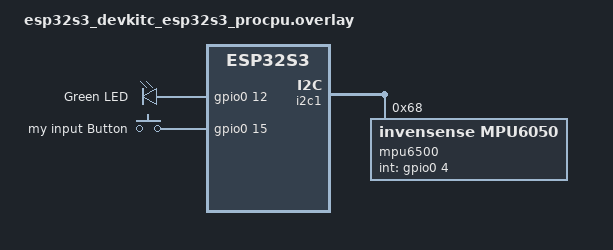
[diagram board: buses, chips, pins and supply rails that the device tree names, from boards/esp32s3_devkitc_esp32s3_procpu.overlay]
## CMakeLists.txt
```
cmake_minimum_required(VERSION 3.10.0)

find_package(Zephyr REQUIRED HINTS $ENV{ZEPHYR_BASE})
project(hello_world)
FILE(GLOB app_sources src/*.c)

target_sources(app PRIVATE ${app_sources})

set(gen_dir ${ZEPHYR_BINARY_DIR}/include/generated/)
set(source_file_index src/index.html)
generate_inc_file_for_target(app ${source_file_index} ${gen_dir}/index.html.gz.inc --gzip)

zephyr_linker_sources(SECTIONS sections-rom.ld)
zephyr_iterable_section(NAME http_resource_desc_my_service KVMA RAM_REGION GROUP RODATA_REGION)
```

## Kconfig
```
#SPDX - License - Identifier : Apache - 2.0

mainmenu "My MQTT App"

config NET_SAMPLE_MQTT_BROKER_HOSTNAME
    string "MQTT Broker hostname"
    default "test.mosquitto.org"

config NET_SAMPLE_MQTT_BROKER_PORT
    string "MQTT Broker port"
    default "1883"

config NET_SAMPLE_MQTT_PUBLISH_INTERVAL
    int "MQTT publish interval in seconds"
    default 10

config NET_SAMPLE_MQTT_PAYLOAD_SIZE
    int "MQTT payload buffer size"
    default 256

config WIFI_SAMPLE_SSID 
    string "WIFI SSID"
    default "" 

config WIFI_SAMPLE_PSK 
    string "WIFI PASSWORD"
    default ""

config WIFI_SAMPLE_AP_SSID
	string "SSID of soft AP"
	help
	  SSID of the soft AP created by the sample.
	  Fox example: "SOFT-AP"

config WIFI_SAMPLE_AP_PSK
	string "Pre-shared key for soft AP"
	help
	  WPA2 password used by the soft AP for client authentication.
	  For example: "PSK"


config READ_TOPIC
    string "MQTT TOPIC TO LISTIN TO"
    default ""

config WRITE_TOPIC
    string "MQTT TOPIC TO PUBLISH TO"
    default ""
source "Kconfig.zephyr"




config WIFI_SAMPLE_AP_IP_ADDRESS
	string "IP address of soft AP"
	help
	  IP address assigned to the soft AP interface.
	  For example: "192.168.4.1"

config WIFI_SAMPLE_AP_NETMASK
	string "Netmask of soft AP"
	help
	  Subnet mask for the soft AP interface.
	  For example: "255.255.255.0"
    default "255.255.255.0"
```

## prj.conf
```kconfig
CONFIG_GPIO=y
CONFIG_I2C=y
CONFIG_INPUT=y
CONFIG_LED=y
CONFIG_SENSOR=y
CONFIG_MPU6050=y


CONFIG_WIFI=y
CONFIG_WIFI_NM=y
CONFIG_WIFI_USAGE_MODE_STA_AP=y


CONFIG_NET_CONFIG_AUTO_INIT=n
CONFIG_NET_CONNECTION_MANAGER=y
CONFIG_NET_DHCPV4=y
CONFIG_NET_DHCPV4_SERVER=y
CONFIG_NET_IF_MAX_IPV4_COUNT=2
CONFIG_NET_IF_MAX_IPV6_COUNT=2
CONFIG_NET_IPV4=y
CONFIG_NET_L2_ETHERNET=y
CONFIG_NET_L2_WIFI_MGMT=y
CONFIG_NET_MGMT=y
CONFIG_NET_MGMT_EVENT=y
CONFIG_NET_MGMT_EVENT_INFO=y
CONFIG_NET_MGMT_EVENT_QUEUE_SIZE=10
CONFIG_NET_MGMT_EVENT_STACK_SIZE=4096
CONFIG_NET_PKT_RX_COUNT=16
CONFIG_NET_PKT_TX_COUNT=16
CONFIG_NET_SOCKETS_SERVICE_STACK_SIZE=4096
CONFIG_NET_TCP=y
CONFIG_NET_UDP=y
CONFIG_NETWORKING=y


# Enable Sockets (used by MQTT lib)
CONFIG_NET_SOCKETS=y
CONFIG_NET_SOCKETS_SOCKOPT_TLS=y


# Enable Mbed TLS
CONFIG_MBEDTLS=y
CONFIG_MBEDTLS_ENABLE_HEAP=y
CONFIG_MBEDTLS_HEAP_SIZE=65536
CONFIG_MBEDTLS_SSL_MAX_CONTENT_LEN=16384
CONFIG_MBEDTLS_PEM_PARSE_C=y
CONFIG_MBEDTLS_PEM_WRITE_C=y
CONFIG_MBEDTLS_SSL_SERVER_NAME_INDICATION=y
CONFIG_MBEDTLS_CIPHERSUITE_TLS_ECDHE_RSA_WITH_AES_128_GCM_SHA256=y

# Enable MQTT
CONFIG_MQTT_LIB=y
CONFIG_MQTT_LIB_TLS=y


# DNS for broker hostname resolution
CONFIG_DNS_RESOLVER=y
CONFIG_NET_HOSTNAME_ENABLE=y

# Enable Posix API functionality
CONFIG_POSIX_API=y


# Main stack size
CONFIG_MAIN_STACK_SIZE=4096
CONFIG_THREAD_NAME=y

# System work queue stack size
CONFIG_SYSTEM_WORKQUEUE_STACK_SIZE=2048

# Increase Rx net buffers
CONFIG_NET_BUF_RX_COUNT=100

CONFIG_LOG=y
CONFIG_NET_LOG=y
CONFIG_NET_DHCPV4_SERVER_LOG_LEVEL_DBG=y


CONFIG_NET_SAMPLE_MQTT_BROKER_HOSTNAME="broker.hivemq.com"
CONFIG_NET_SAMPLE_MQTT_BROKER_PORT="8883"
CONFIG_NET_SAMPLE_MQTT_PUBLISH_INTERVAL=10


#json
CONFIG_JSON_LIBRARY=y

CONFIG_MBEDTLS_DEBUG=y


CONFIG_HTTP_SERVER=y
CONFIG_WIFI_SAMPLE_AP_IP_ADDRESS="192.168.4.1"


CONFIG_ZVFS_EVENTFD_MAX=4



# CONFIG_SHELL=y
# CONFIG_NET_SHELL=y

CONFIG_LOG_DEFAULT_LEVEL=1


CONFIG_NET_MAX_CONTEXTS=16
CONFIG_NET_MAX_CONN=20
```

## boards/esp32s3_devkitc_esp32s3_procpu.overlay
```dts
// input system dont require alias it will hande it


/{
	aliases {
		led0 = &led0;
	};
	leds {
		compatible = "gpio-leds";

		led0: led_0 {
			gpios = <&gpio0 12 GPIO_ACTIVE_HIGH>;
			label = "Green LED";
		};
	};
	buttons {
		compatible = "gpio-keys";

		my_button: my_button {
			gpios = <&gpio0 15 (GPIO_PULL_DOWN | GPIO_ACTIVE_HIGH)>;
			label = "my input Button";
			zephyr,code = <INPUT_KEY_1>;
		};
	};
	wifi_ap: wifi_ap {
		compatible = "espressif,esp32-wifi";
		status = "okay";
	};
};

&i2c1 {
	status = "okay";
    	mpu6500: mpu6500@68 {
        compatible = "invensense,mpu6050";
        reg = <0x68>;
        status = "okay";
        int-gpios = <&gpio0 4 GPIO_ACTIVE_HIGH>;  /* optional interrupt pin */
        accel-fs = <2>;    /* +/- 2g, legal: 2, 4, 8, 16 */
        gyro-fs = <250>;   /* +/- 250 deg/s, legal: 250, 500, 1000, 2000 */
    };
};
```

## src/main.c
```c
/*
 * SPDX-FileCopyrightText: Copyright The Zephyr Project Contributors
 * SPDX-License-Identifier: Apache-2.0
 */

#include "mqtt_client.h"
#include <ctype.h>
#include <inttypes.h>
#include <stdbool.h>
#include <string.h>
#include <sys/_intsup.h>
#include <zephyr/device.h>
#include <zephyr/devicetree.h>
#include <zephyr/drivers/led.h>
#include <zephyr/drivers/sensor.h>
#include <zephyr/input/input.h>
#include <zephyr/kernel.h>
#include <zephyr/logging/log.h>
#include <zephyr/net/dhcpv4_server.h>
#include <zephyr/net/http/server.h>
#include <zephyr/net/http/service.h>
#include <zephyr/net/mqtt.h>
#include <zephyr/net/wifi_mgmt.h>
#include <zephyr/sys/printk.h>
#include "wifi.h"
LOG_MODULE_REGISTER(MAIN);

bool button_state = false;
bool led_state = false;

static void format_sensor_value(char *buf, size_t buf_len,
                                struct sensor_value *v)
{
  int32_t frac = v->val2 < 0 ? -v->val2 : v->val2;

  snprintf(buf, buf_len, "%d.%06d", v->val1, frac);
}

#define LED0_NODE DT_ALIAS(led0)
static const struct led_dt_spec led0 = LED_DT_SPEC_GET(LED0_NODE);
const struct device *mpu = DEVICE_DT_GET(DT_NODELABEL(mpu6500));

static void button_input_cb(struct input_event *evt, void *user_data)
{
  if (evt->sync == 0)
  {
    return;
  }

  printk("Button %d %s at %" PRIu32 "\n", evt->code,
         evt->value ? "pressed" : "released", k_cycle_get_32());
  if (evt->code == 2 && evt->value)
    button_state = true;
  else
  {
    button_state = false;
  }
}

INPUT_CALLBACK_DEFINE(NULL, button_input_cb, NULL);
const char axes[] = {'x', 'y', 'z'};
struct sensor_value accel[3];
struct sensor_value gyro[3];
struct sensor_value temp;

int main(void)
{
  wifi_init();

  // MQTT
  struct mqtt_client client_ctx;
  while (app_mqtt_init(&client_ctx) != 0)
  {
    k_sleep(K_SECONDS(2));
  }
  app_mqtt_connect(&client_ctx);
  app_mqtt_subscribe(&client_ctx, CONFIG_READ_TOPIC);

  if (!led_is_ready_dt(&led0))
  {
    LOG_ERR("led not ready\n");
    return -ENODEV;
  }
  if (!device_is_ready(mpu))
  {
    LOG_ERR("MPU6500 not ready\n");
    return -ENODEV;
  }
  printk("Press the button\n");
  char msg[256]; // json publish data buffer
  while (true)
  {
    if (led_state)
    {
      led_on_dt(&led0);
    }
    else
    {
      led_off_dt(&led0);
    }

    if (mqtt_connected)
    {
      app_mqtt_process(&client_ctx);
    }
    else
    {
      /* Reconnect if dropped */
      app_mqtt_connect(&client_ctx);
      app_mqtt_subscribe(&client_ctx, CONFIG_READ_TOPIC);
    }

    // Step 1 — fetch all raw data from sensor over I2C
    int rc = sensor_sample_fetch(mpu);

    if (rc == 0)
    {
      rc = sensor_channel_get(mpu, SENSOR_CHAN_ACCEL_XYZ, accel);
    }
    char xs[16], ys[16], zs[16];

    format_sensor_value(xs, sizeof(xs), &accel[0]);
    format_sensor_value(ys, sizeof(ys), &accel[1]);
    format_sensor_value(zs, sizeof(zs), &accel[2]);

    snprintf(msg, 256,
             "{\"button\":\"%s\",\"mpu_accel\":{\"x\":%s,\"y\":%s,\"z\":%s}}",
             button_state ? "on" : "off", xs, ys, zs);

    app_mqtt_publish(&client_ctx, CONFIG_WRITE_TOPIC, msg);

    k_sleep(K_MSEC(100));
  }

  k_sleep(K_FOREVER);

  return 0;
}
```

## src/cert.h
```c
#ifndef CA_CERTIFICATE_H
#define CA_CERTIFICATE_H

static const unsigned char ca_certificate[] =
    "-----BEGIN CERTIFICATE-----\n"
    "MIIEkjCCA3qgAwIBAgITBn+USionzfP6wq4rAfkI7rnExjANBgkqhkiG9w0BAQsF\n"
    "ADCBmDELMAkGA1UEBhMCVVMxEDAOBgNVBAgTB0FyaXpvbmExEzARBgNVBAcTClNj\n"
    "b3R0c2RhbGUxJTAjBgNVBAoTHFN0YXJmaWVsZCBUZWNobm9sb2dpZXMsIEluYy4x\n"
    "OzA5BgNVBAMTMlN0YXJmaWVsZCBTZXJ2aWNlcyBSb290IENlcnRpZmljYXRlIEF1\n"
    "dGhvcml0eSAtIEcyMB4XDTE1MDUyNTEyMDAwMFoXDTM3MTIzMTAxMDAwMFowOTEL\n"
    "MAkGA1UEBhMCVVMxDzANBgNVBAoTBkFtYXpvbjEZMBcGA1UEAxMQQW1hem9uIFJv\n"
    "b3QgQ0EgMTCCASIwDQYJKoZIhvcNAQEBBQADggEPADCCAQoCggEBALJ4gHHKeNXj\n"
    "ca9HgFB0fW7Y14h29Jlo91ghYPl0hAEvrAIthtOgQ3pOsqTQNroBvo3bSMgHFzZM\n"
    "9O6II8c+6zf1tRn4SWiw3te5djgdYZ6k/oI2peVKVuRF4fn9tBb6dNqcmzU5L/qw\n"
    "IFAGbHrQgLKm+a/sRxmPUDgH3KKHOVj4utWp+UhnMJbulHheb4mjUcAwhmahRWa6\n"
    "VOujw5H5SNz/0egwLX0tdHA114gk957EWW67c4cX8jJGKLhD+rcdqsq08p8kDi1L\n"
    "93FcXmn/6pUCyziKrlA4b9v7LWIbxcceVOF34GfID5yHI9Y/QCB/IIDEgEw+OyQm\n"
    "jgSubJrIqg0CAwEAAaOCATEwggEtMA8GA1UdEwEB/wQFMAMBAf8wDgYDVR0PAQH/\n"
    "BAQDAgGGMB0GA1UdDgQWBBSEGMyFNOy8DJSULghZnMeyEE4KCDAfBgNVHSMEGDAW\n"
    "gBScXwDfqgHXMCs4iKK4bUqc8hGRgzB4BggrBgEFBQcBAQRsMGowLgYIKwYBBQUH\n"
    "MAGGImh0dHA6Ly9vY3NwLnJvb3RnMi5hbWF6b250cnVzdC5jb20wOAYIKwYBBQUH\n"
    "MAKGLGh0dHA6Ly9jcnQucm9vdGcyLmFtYXpvbnRydXN0LmNvbS9yb290ZzIuY2Vy\n"
    "MD0GA1UdHwQ2MDQwMqAwoC6GLGh0dHA6Ly9jcmwucm9vdGcyLmFtYXpvbnRydXN0\n"
    "LmNvbS9yb290ZzIuY3JsMBEGA1UdIAQKMAgwBgYEVR0gADANBgkqhkiG9w0BAQsF\n"
    "AAOCAQEAYjdCXLwQtT6LLOkMm2xF4gcAevnFWAu5CIw+7bMlPLVvUOTNNWqnkzSW\n"
    "MiGpSESrnO09tKpzbeR/FoCJbM8oAxiDR3mjEH4wW6w7sGDgd9QIpuEdfF7Au/ma\n"
    "eyKdpwAJfqxGF4PcnCZXmTA5YpaP7dreqsXMGz7KQ2hsVxa81Q4gLv7/wmpdLqBK\n"
    "bRRYh5TmOTFffHPLkIhqhBGWJ6bt2YFGpn6jcgAKUj6DiAdjd4lpFw85hdKrCEVN\n"
    "0FE6/V1dN2RMfjCyVSRCnTawXZwXgWHxyvkQAiSr6w10kY17RSlQOYiypok1JR4U\n"
    "akcjMS9cmvqtmg5iUaQqqcT5NJ0hGA==\n"
    "-----END CERTIFICATE-----\n";

#endif /* CA_CERTIFICATE_H */
```

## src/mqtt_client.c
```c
#include <stdbool.h>
#include <string.h>
#include <zephyr/logging/log.h>
LOG_MODULE_REGISTER(app_mqtt, LOG_LEVEL_DBG);

#include "mqtt_client.h"
#include <zephyr/data/json.h>
#include <zephyr/kernel.h>
#include <zephyr/net/mqtt.h>
#include <zephyr/net/tls_credentials.h>
#include <zephyr/posix/arpa/inet.h>
#include <zephyr/posix/netdb.h>
#include <zephyr/posix/poll.h>
#include <zephyr/posix/sys/socket.h>
#include <zephyr/random/random.h>

extern bool led_state;

struct led_cmd
{
  const char *led;
};

static const struct json_obj_descr led_cmd_descr[] = {
    JSON_OBJ_DESCR_PRIM(struct led_cmd, led, JSON_TOK_STRING),
};

/* Buffers for MQTT client */
static uint8_t rx_buffer[256];
static uint8_t tx_buffer[256];

// /* MQTT payload buffer */
// static uint8_t payload_buf[256];

/* MQTT broker details */
static struct sockaddr_storage broker;

/* Socket descriptor */
static struct pollfd fds[1];
static int nfds;

/* MQTT connectivity status flag */
bool mqtt_connected;

#if defined(CONFIG_MQTT_LIB_TLS)
#include "cert.h"

#define TLS_SNI_HOSTNAME CONFIG_NET_SAMPLE_MQTT_BROKER_HOSTNAME
#define APP_CA_CERT_TAG 1

static const sec_tag_t m_sec_tags[] = {
    APP_CA_CERT_TAG,
};

static int tls_init(void)
{
  int rc;

  rc = tls_credential_add(APP_CA_CERT_TAG, TLS_CREDENTIAL_CA_CERTIFICATE,
                          ca_certificate, sizeof(ca_certificate));
  if (rc < 0)
  {
    LOG_ERR("Failed to register public certificate: %d", rc);
    return rc;
  }

  return rc;
}
#endif

// /* MQTT client ID buffer */
// static uint8_t client_id[50];

static void prepare_fds(struct mqtt_client *client)
{
  if (client->transport.type == MQTT_TRANSPORT_NON_SECURE)
  {
    fds[0].fd = client->transport.tcp.sock;
  }
#if defined(CONFIG_MQTT_LIB_TLS)
  else if (client->transport.type == MQTT_TRANSPORT_SECURE)
  {
    fds[0].fd = client->transport.tls.sock;
  }
#endif

  fds[0].events = POLLIN;
  nfds = 1;
}

static void clear_fds(void) { nfds = 0; }

static inline void on_mqtt_connect(void)
{
  mqtt_connected = true;
  LOG_INF("Connected to MQTT broker!");
  LOG_INF("Hostname: %s", CONFIG_NET_SAMPLE_MQTT_BROKER_HOSTNAME);
  LOG_INF("Port: %s", CONFIG_NET_SAMPLE_MQTT_BROKER_PORT);
}

static inline void on_mqtt_disconnect(void)
{
  mqtt_connected = false;
  clear_fds();
  LOG_INF("Disconnected from MQTT broker");
}

/** Called when an MQTT payload is received.
 *  Reads the payload and calls the commands
 *  handler if a payloads is received on the
 *  command topic
 */
static void on_mqtt_publish(struct mqtt_client *const client,
                            const struct mqtt_evt *evt)
{
  int rc;
  uint8_t payload[256];

  rc = mqtt_read_publish_payload(client, payload, sizeof(payload) - 1);
  if (rc < 0)
  {
    LOG_ERR("Failed to read received MQTT payload [%d]", rc);
    return;
  }
  /* Place null terminator at end of payload buffer */
  payload[rc] = '\0';

  LOG_INF("MQTT payload received!");
  LOG_INF("topic: '%s', payload: %s",
          evt->param.publish.message.topic.topic.utf8, payload);

  if (strcmp(evt->param.publish.message.topic.topic.utf8, CONFIG_READ_TOPIC) ==
      0)
  {
    struct led_cmd data;
    int ret;

    ret = json_obj_parse((char *)payload, 256, led_cmd_descr,
                         ARRAY_SIZE(led_cmd_descr), &data);
    if (ret < 0)
    {
      LOG_ERR("Invalid JSON payload received");
      return;
    }
    LOG_INF("payload is :\n%s", payload);

    if (data.led != NULL)
    {
      if (strcmp(data.led, "on") == 0)
      {
        led_state = true;
      }
      else if (strcmp(data.led, "off") == 0)
      {
        led_state = false;
      }
    }
  }
}

/** Handler for asynchronous MQTT events */
static void mqtt_event_handler(struct mqtt_client *const client,
                               const struct mqtt_evt *evt)
{
  switch (evt->type)
  {
  case MQTT_EVT_CONNACK:
    if (evt->result != 0)
    {
      LOG_ERR("MQTT Event Connect failed [%d]", evt->result);
      break;
    }
    on_mqtt_connect();
    break;

  case MQTT_EVT_DISCONNECT:
    on_mqtt_disconnect();
    break;

  case MQTT_EVT_PINGRESP:
    LOG_INF("PINGRESP packet");
    break;

  case MQTT_EVT_PUBACK:
    if (evt->result != 0)
    {
      LOG_ERR("MQTT PUBACK error [%d]", evt->result);
      break;
    }

    LOG_INF("PUBACK packet ID: %u", evt->param.puback.message_id);
    break;

  case MQTT_EVT_PUBREC:
    if (evt->result != 0)
    {
      LOG_ERR("MQTT PUBREC error [%d]", evt->result);
      break;
    }

    LOG_INF("PUBREC packet ID: %u", evt->param.pubrec.message_id);

    const struct mqtt_pubrel_param rel_param = {
        .message_id = evt->param.pubrec.message_id};

    mqtt_publish_qos2_release(client, &rel_param);
    break;

  case MQTT_EVT_PUBREL:
    if (evt->result != 0)
    {
      LOG_ERR("MQTT PUBREL error [%d]", evt->result);
      break;
    }

    LOG_INF("PUBREL packet ID: %u", evt->param.pubrel.message_id);

    const struct mqtt_pubcomp_param rec_param = {
        .message_id = evt->param.pubrel.message_id};

    mqtt_publish_qos2_complete(client, &rec_param);
    break;

  case MQTT_EVT_PUBCOMP:
    if (evt->result != 0)
    {
      LOG_ERR("MQTT PUBCOMP error %d", evt->result);
      break;
    }

    LOG_INF("PUBCOMP packet ID: %u", evt->param.pubcomp.message_id);
    break;

  case MQTT_EVT_SUBACK:
    if (evt->result == MQTT_SUBACK_FAILURE)
    {
      LOG_ERR("MQTT SUBACK error [%d]", evt->result);
      break;
    }

    LOG_INF("SUBACK packet ID: %d", evt->param.suback.message_id);
    break;

  case MQTT_EVT_PUBLISH:
    const struct mqtt_publish_param *p = &evt->param.publish;

    if (p->message.topic.qos == MQTT_QOS_1_AT_LEAST_ONCE)
    {
      const struct mqtt_puback_param ack_param = {.message_id = p->message_id};
      mqtt_publish_qos1_ack(client, &ack_param);
    }
    else if (p->message.topic.qos == MQTT_QOS_2_EXACTLY_ONCE)
    {
      const struct mqtt_pubrec_param rec_param = {.message_id = p->message_id};
      mqtt_publish_qos2_receive(client, &rec_param);
    }

    on_mqtt_publish(client, evt);

  default:
    break;
  }
}

/** Poll the MQTT socket for received data */
static int poll_mqtt_socket(struct mqtt_client *client, int timeout)
{
  int rc;

  prepare_fds(client);

  if (nfds <= 0)
  {
    return -EINVAL;
  }

  rc = poll(fds, nfds, timeout);
  if (rc < 0)
  {
    LOG_ERR("Socket poll error [%d]", rc);
  }

  return rc;
}

// /** Retrieves a sensor sample and encodes it in JSON format */
// static int get_mqtt_payload(struct mqtt_binstr *payload) {
//   int rc;
//   struct sensor_sample sample;

//   rc = device_read_sensor(&sample);
//   if (rc != 0) {
//     LOG_ERR("Failed to get sensor sample [%d]", rc);
//     return rc;
//   }

//   rc = json_obj_encode_buf(sensor_sample_descr,
//   ARRAY_SIZE(sensor_sample_descr),
//                            &sample, payload_buf, 256);
//   if (rc != 0) {
//     LOG_ERR("Failed to encode JSON object [%d]", rc);
//     return rc;
//   }

//   payload->data = payload_buf;
//   payload->len = strlen(payload->data);

//   return rc;
// }

int app_mqtt_publish(struct mqtt_client *client, const char *topic,
                     const char *data)
{
  int rc;
  struct mqtt_publish_param param;
  static uint16_t msg_id = 1;
  struct mqtt_topic mq_topic = {.topic = {.utf8 = topic, .size = strlen(topic)},
                                .qos = MQTT_QOS_1_AT_LEAST_ONCE};

  param.message.topic = mq_topic;
  param.message.payload.data = (uint8_t *)data;
  param.message.payload.len = strlen(data);
  param.message_id = msg_id++;
  param.dup_flag = 0;
  param.retain_flag = 0;

  rc = mqtt_publish(client, &param);
  if (rc != 0)
  {
    LOG_ERR("MQTT Publish failed [%d]", rc);
  }

  // LOG_INF("Published to topic '%s', QoS %d", param.message.topic.topic.utf8,
  //         param.message.topic.qos);

  return rc;
}

int app_mqtt_subscribe(struct mqtt_client *client, const char *topic)
{
  int rc;
  struct mqtt_topic sub_topics[] = {
      {.topic = {.utf8 = topic, .size = strlen(topic)},
       .qos = MQTT_QOS_1_AT_LEAST_ONCE}};
  const struct mqtt_subscription_list sub_list = {.list = sub_topics,
                                                  .list_count =
                                                      ARRAY_SIZE(sub_topics),
                                                  .message_id = 5841u};

  LOG_INF("Subscribing to %d topic(s)", sub_list.list_count);

  rc = mqtt_subscribe(client, &sub_list);
  if (rc != 0)
  {
    LOG_ERR("MQTT Subscribe failed [%d]", rc);
  }

  return rc;
}

/** Process incoming MQTT data and keep the connection alive*/
int app_mqtt_process(struct mqtt_client *client)
{
  int rc;

  rc = poll_mqtt_socket(client, mqtt_keepalive_time_left(client));
  if (rc != 0)
  {
    if (fds[0].revents & POLLIN)
    {
      /* MQTT data received */
      rc = mqtt_input(client);
      if (rc != 0)
      {
        LOG_ERR("MQTT Input failed [%d]", rc);
        return rc;
      }
      /* Socket error */
      if (fds[0].revents & (POLLHUP | POLLERR))
      {
        LOG_ERR("MQTT socket closed / error");
        return -ENOTCONN;
      }
    }
  }
  else
  {
    /* Socket poll timed out, time to call mqtt_live() */
    rc = mqtt_live(client);
    if (rc != 0)
    {
      LOG_ERR("MQTT Live failed [%d]", rc);
      return rc;
    }
  }

  return 0;
}

void app_mqtt_run(struct mqtt_client *client)
{
  int rc;

  /* Thread will primarily remain in this loop */
  while (mqtt_connected)
  {
    rc = app_mqtt_process(client);
    if (rc != 0)
    {
      break;
    }
  }
  /* Gracefully close connection */
  mqtt_disconnect(client, NULL);
}

void app_mqtt_connect(struct mqtt_client *client)
{
  int rc = 0;

  mqtt_connected = false;

  /* Block until MQTT CONNACK event callback occurs */
  while (!mqtt_connected)
  {
    rc = mqtt_connect(client);
    if (rc != 0)
    {
      LOG_ERR("MQTT Connect failed [%d]", rc);
      k_msleep(MSECS_WAIT_RECONNECT);
      continue;
    }

    /* Poll MQTT socket for response */
    rc = poll_mqtt_socket(client, MSECS_NET_POLL_TIMEOUT);
    if (rc > 0)
    {
      mqtt_input(client);
    }

    if (!mqtt_connected)
    {
      mqtt_abort(client);
    }
  }
}

int app_mqtt_init(struct mqtt_client *client)
{
  int rc;
  uint8_t broker_ip[NET_IPV4_ADDR_LEN];
  struct sockaddr_in *broker4;
  struct addrinfo *result;
  const struct addrinfo hints = {.ai_family = AF_INET,
                                 .ai_socktype = SOCK_STREAM};

  /* Resolve IP address of MQTT broker */
  rc = getaddrinfo(CONFIG_NET_SAMPLE_MQTT_BROKER_HOSTNAME,
                   CONFIG_NET_SAMPLE_MQTT_BROKER_PORT, &hints, &result);
  if (rc != 0)
  {
    LOG_ERR("Failed to resolve broker hostname [%s]", gai_strerror(rc));
    return -EIO;
  }
  if (result == NULL)
  {
    LOG_ERR("Broker address not found");
    return -ENOENT;
  }

  broker4 = (struct sockaddr_in *)&broker;
  broker4->sin_addr.s_addr =
      ((struct sockaddr_in *)result->ai_addr)->sin_addr.s_addr;
  broker4->sin_family = AF_INET;
  broker4->sin_port = ((struct sockaddr_in *)result->ai_addr)->sin_port;
  freeaddrinfo(result);

  /* Log resolved IP address */
  inet_ntop(AF_INET, &broker4->sin_addr.s_addr, broker_ip, sizeof(broker_ip));
  LOG_INF("Connecting to MQTT broker @ %s", broker_ip);

  /* MQTT client configuration */
  // init_mqtt_client_id();
  mqtt_client_init(client);
#if defined(CONFIG_MQTT_LIB_TLS)
  rc = tls_init();
  if (rc != 0)
  {
    LOG_ERR("TLS init failed [%d]", rc);
    return rc;
  }

  struct mqtt_sec_config *tls_config = &client->transport.tls.config;

  tls_config->peer_verify = TLS_PEER_VERIFY_REQUIRED;
  tls_config->cipher_list = NULL;
  tls_config->cipher_count = 0;
  tls_config->sec_tag_list = m_sec_tags;
  tls_config->sec_tag_count = ARRAY_SIZE(m_sec_tags);
  tls_config->hostname = TLS_SNI_HOSTNAME;

  client->transport.type = MQTT_TRANSPORT_SECURE;
#endif
  client->transport.if_name = "wlan0";
  client->broker = &broker;
  client->evt_cb = mqtt_event_handler;
  client->client_id.utf8 = (uint8_t *)"my_esp32_device";
  client->client_id.size = strlen("my_esp32_device");
  client->password = NULL;
  client->user_name = NULL;
  client->protocol_version = MQTT_VERSION_3_1_1;
  client->clean_session = 1;
  /* MQTT buffers configuration */
  client->rx_buf = rx_buffer;
  client->rx_buf_size = sizeof(rx_buffer);
  client->tx_buf = tx_buffer;
  client->tx_buf_size = sizeof(tx_buffer);

  return rc;
}
```

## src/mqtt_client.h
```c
#ifndef __MQTT_CLIENT_H__
#define __MQTT_CLIENT_H__
#include <zephyr/net/mqtt.h>
/** MQTT connection timeouts */
#define MSECS_NET_POLL_TIMEOUT 5000
#define MSECS_WAIT_RECONNECT 1000

/** MQTT connection status flag */
extern bool mqtt_connected;

/**
 *  @brief Initialise the MQTT client & broker configuration
 */
int app_mqtt_init(struct mqtt_client *client);

/**
 *  @brief Blocking function that establishes connectivity to the MQTT broker
 */
void app_mqtt_connect(struct mqtt_client *client);

/**
 *  @brief  Subscribes to user-defined MQTT topics and continuously
 *          processes incoming data while the MQTT connection is active
 */
void app_mqtt_run(struct mqtt_client *client);

/**
 *  @brief   Subscribe to user-defined MQTT topics
 */
int app_mqtt_subscribe(struct mqtt_client *client, const char *topic);
/**
 *  @brief  Publish MQTT payload
 */
int app_mqtt_publish(struct mqtt_client *client, const char *topic,
                     const char *data);
/**
 * @brief background polling
 */
int app_mqtt_process(struct mqtt_client *client);
#endif /* __MQTT_CLIENT_H__ */
```

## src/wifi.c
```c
#include <zephyr/net/dhcpv4_server.h>
#include <zephyr/net/http/server.h>
#include <zephyr/net/http/service.h>
#include <zephyr/net/wifi_mgmt.h>
#include <zephyr/logging/log.h>
#include <ctype.h>
#include "wifi.h"

LOG_MODULE_REGISTER(WIFI);

static char wifi_body[160];
static size_t wifi_body_len;
static bool wifi_body_overflow = false;
uint16_t http_port = 8080;

enum State state;

struct net_mgmt_event_callback ipv4_cb;

struct net_if *sta_iface;
struct net_if *ap_iface;
struct wifi_connect_req_params ap_config;
struct wifi_connect_req_params sta_config;
struct net_mgmt_event_callback cb;

struct k_sem net_ready;
struct k_sem ap_ready;

#define MACSTR "%02X:%02X:%02X:%02X:%02X:%02X"

BUILD_ASSERT(sizeof(CONFIG_WIFI_SAMPLE_SSID) > 1,
             "Set CONFIG_APP_WIFI_SSID in secrets.conf");
BUILD_ASSERT(sizeof(CONFIG_WIFI_SAMPLE_PSK) > 1,
             "Set CONFIG_APP_WIFI_PSK in secrets.conf");

BUILD_ASSERT(
    sizeof(CONFIG_WIFI_SAMPLE_AP_SSID) > 1,
    "CONFIG_WIFI_SAMPLE_AP_SSID is empty. Please set it in conf file.");

BUILD_ASSERT(sizeof(CONFIG_WIFI_SAMPLE_AP_PSK) > 1,
             "CONFIG_WIFI_SAMPLE_SSID is empty. Please set it in conf file.");

/* find "key=value" in a form body and URL-decode the value */
void form_get(const char *body, const char *key, char *out,
              size_t out_len)
{
    size_t klen = strlen(key);
    const char *p = body;

    out[0] = '\0';
    while (p && *p)
    {
        if (strncmp(p, key, klen) == 0 && p[klen] == '=')
        {
            size_t o = 0;

            p += klen + 1;
            while (*p && *p != '&' && o < out_len - 1)
            {
                if (*p == '+')
                {
                    out[o++] = ' ';
                    p++;
                }
                else if (*p == '%' && isxdigit((unsigned char)p[1]) &&
                         isxdigit((unsigned char)p[2]))
                {
                    char hex[3] = {p[1], p[2], 0};

                    out[o++] = (char)strtol(hex, NULL, 16);
                    p += 3;
                }
                else
                {
                    out[o++] = *p++;
                }
            }
            out[o] = '\0';
            return;
        }
        p = strchr(p, '&');
        if (p)
        {
            p++;
        }
    }
}

wifi_credenital_t wifi_credential;
K_SEM_DEFINE(wifi_creds_ready, 0, 1);

int wifi_post_handler(struct http_client_ctx *client,
                      enum http_transaction_status status,
                      const struct http_request_ctx *req,
                      struct http_response_ctx *rsp, void *user_data)
{
    static const char ok[] = "Saved";
    static const char too_big[] = "Request too large";

    if (status == HTTP_SERVER_TRANSACTION_ABORTED)
    {
        wifi_body_len = 0;
        wifi_body_overflow = false;
        return 0;
    }

    /* body can arrive in several chunks */
    if (!wifi_body_overflow && req->data_len > 0 &&
        wifi_body_len + req->data_len < sizeof(wifi_body))
    {
        memcpy(&wifi_body[wifi_body_len], req->data, req->data_len);
        wifi_body_len += req->data_len;
    }
    else
    {
        if (req->data_len > 0)
            wifi_body_overflow = true;
    }

    if (status == HTTP_SERVER_REQUEST_DATA_FINAL)
    {
        rsp->final_chunk = true;
        if (wifi_body_overflow)
        {
            LOG_ERR("WIFI FORM rejected: body too large");
            rsp->status = 413;
            rsp->body = (const uint8_t *)too_big;
            rsp->body_len = sizeof(too_big) - 1;
            wifi_body_len = 0;
            wifi_body_overflow = false;
            return 0;
        }

        wifi_body[wifi_body_len] = '\0';
        form_get(wifi_body, "ssid", wifi_credential.ssid, sizeof(wifi_credential.ssid));
        form_get(wifi_body, "psk", wifi_credential.password, sizeof(wifi_credential.password));
        LOG_INF("WIFI FORM -> ssid='%s' psk='%s'\n", wifi_credential.ssid, wifi_credential.password);

        wifi_body_len = 0;
        rsp->status = HTTP_200_OK;
        rsp->body = (const uint8_t *)ok;
        rsp->body_len = sizeof(ok) - 1;
        if (state == read_credential)
        {
            k_sem_give(&wifi_creds_ready);
        }
        else
        {
            LOG_INF("unexpected state or mal user beahvour dont set credentail after initialization current state is :%d", state);
        }
    }
    return 0;
}

static struct http_resource_detail_dynamic wifi_resource_detail = {
    .common =
        {
            .type = HTTP_RESOURCE_TYPE_DYNAMIC,
            .bitmask_of_supported_http_methods = BIT(HTTP_POST),
        },
    .cb = wifi_post_handler,
    .user_data = NULL,
};

HTTP_RESOURCE_DEFINE(wifi_resource, my_service, "/wifi", &wifi_resource_detail);

static uint8_t index_html_gz[] = {
#include "index.html.gz.inc"
};

static struct http_resource_detail_static index_resource_detail = {
    .common =
        {
            .type = HTTP_RESOURCE_TYPE_STATIC,
            .bitmask_of_supported_http_methods = BIT(HTTP_GET),
            .content_encoding = "gzip",
            .content_type = "text/html",
        },
    .static_data = index_html_gz,
    .static_data_len = sizeof(index_html_gz),
};

HTTP_SERVICE_DEFINE(my_service, NULL, &http_port,
                    CONFIG_HTTP_SERVER_MAX_CLIENTS, 10, NULL, NULL, NULL);

HTTP_RESOURCE_DEFINE(index_resource, my_service, "/", &index_resource_detail);

K_SEM_DEFINE(net_ready, 0, 1);
K_SEM_DEFINE(ap_ready, 0, 1);

void ipv4_handler(struct net_mgmt_event_callback *cb, uint64_t evt,
                  struct net_if *iface)
{
    if (evt == NET_EVENT_IPV4_ADDR_ADD && iface == sta_iface)
    {
        k_sem_give(&net_ready);
    }
}

void wifi_event_handler(struct net_mgmt_event_callback *cb,
                        uint64_t mgmt_event, struct net_if *iface)
{
    switch (mgmt_event)
    {
    case NET_EVENT_WIFI_CONNECT_RESULT:
    {
        LOG_INF("Connected to %s", CONFIG_WIFI_SAMPLE_SSID);
        break;
    }
    case NET_EVENT_WIFI_DISCONNECT_RESULT:
    {
        LOG_INF("Disconnected from %s", CONFIG_WIFI_SAMPLE_SSID);
        break;
    }
    case NET_EVENT_WIFI_AP_ENABLE_RESULT:
    {
        LOG_INF("AP Mode is enabled. Waiting for station to connect");
        k_sem_give(&ap_ready);
        break;
    }
    case NET_EVENT_WIFI_AP_DISABLE_RESULT:
    {
        LOG_INF("AP Mode is disabled.");
        break;
    }
    case NET_EVENT_WIFI_AP_STA_CONNECTED:
    {
        struct wifi_ap_sta_info *sta_info = (struct wifi_ap_sta_info *)cb->info;

        LOG_INF("station: " MACSTR " joined ", sta_info->mac[0], sta_info->mac[1],
                sta_info->mac[2], sta_info->mac[3], sta_info->mac[4],
                sta_info->mac[5]);
        break;
    }
    case NET_EVENT_WIFI_AP_STA_DISCONNECTED:
    {
        struct wifi_ap_sta_info *sta_info = (struct wifi_ap_sta_info *)cb->info;

        LOG_INF("station: " MACSTR " leave ", sta_info->mac[0], sta_info->mac[1],
                sta_info->mac[2], sta_info->mac[3], sta_info->mac[4],
                sta_info->mac[5]);
        break;
    }
    default:
        break;
    }
}

void enable_dhcpv4_server(void)
{
    static struct net_in_addr addr;
    static struct net_in_addr netmaskAddr;

    if (net_addr_pton(NET_AF_INET, CONFIG_WIFI_SAMPLE_AP_IP_ADDRESS, &addr))
    {
        LOG_ERR("Invalid address: %s", CONFIG_WIFI_SAMPLE_AP_IP_ADDRESS);
        return;
    }

    if (net_addr_pton(NET_AF_INET, CONFIG_WIFI_SAMPLE_AP_NETMASK, &netmaskAddr))
    {
        LOG_ERR("Invalid netmask: %s", CONFIG_WIFI_SAMPLE_AP_NETMASK);
        return;
    }

    net_if_ipv4_set_gw(ap_iface, &addr);

    if (net_if_ipv4_addr_add(ap_iface, &addr, NET_ADDR_MANUAL, 0) == NULL)
    {
        LOG_ERR("unable to set IP address for AP interface");
    }

    if (!net_if_ipv4_set_netmask_by_addr(ap_iface, &addr, &netmaskAddr))
    {
        LOG_ERR("Unable to set netmask for AP interface: %s",
                CONFIG_WIFI_SAMPLE_AP_NETMASK);
    }

    addr.s4_addr[3] += 10; /* Starting IPv4 address for DHCPv4 address pool. */

    if (net_dhcpv4_server_start(ap_iface, &addr) != 0)
    {
        LOG_ERR("DHCP server is not started for desired IP");
        return;
    }

    LOG_INF("DHCPv4 server started...\n");
}

int enable_ap_mode(void)
{
    if (!ap_iface)
    {
        LOG_INF("AP: is not initialized");
        return -EIO;
    }

    LOG_INF("Turning on AP Mode");
    ap_config.ssid = (const uint8_t *)CONFIG_WIFI_SAMPLE_AP_SSID;
    ap_config.ssid_length = sizeof(CONFIG_WIFI_SAMPLE_AP_SSID) - 1;
    ap_config.psk = (const uint8_t *)CONFIG_WIFI_SAMPLE_AP_PSK;
    ap_config.psk_length = sizeof(CONFIG_WIFI_SAMPLE_AP_PSK) - 1;
    ap_config.channel = WIFI_CHANNEL_ANY;
    ap_config.band = WIFI_FREQ_BAND_2_4_GHZ;

    if (sizeof(CONFIG_WIFI_SAMPLE_AP_PSK) == 1)
    {
        ap_config.security = WIFI_SECURITY_TYPE_NONE;
    }
    else
    {

        ap_config.security = WIFI_SECURITY_TYPE_PSK;
    }

    enable_dhcpv4_server();

    int ret = net_mgmt(NET_REQUEST_WIFI_AP_ENABLE, ap_iface, &ap_config,
                       sizeof(struct wifi_connect_req_params));
    if (ret)
    {
        LOG_ERR("NET_REQUEST_WIFI_AP_ENABLE failed, err: %d", ret);
    }

    return ret;
}

int connect_to_wifi(void)
{
    if (!sta_iface)
    {
        LOG_ERR("STA: interface no initialized");
        return -EIO;
    }

    sta_config.ssid = (const uint8_t *)wifi_credential.ssid;
    sta_config.ssid_length = sizeof(wifi_credential.ssid) - 1;
    sta_config.psk = (const uint8_t *)wifi_credential.password;
    sta_config.psk_length = sizeof(wifi_credential.password) - 1;
    sta_config.security = WIFI_SECURITY_TYPE_PSK;
    sta_config.channel = WIFI_CHANNEL_ANY;
    sta_config.band = WIFI_FREQ_BAND_2_4_GHZ;

    LOG_INF("Connecting to SSID: %s\n", sta_config.ssid);

    int ret = net_mgmt(NET_REQUEST_WIFI_CONNECT, sta_iface, &sta_config,
                       sizeof(struct wifi_connect_req_params));
    if (ret)
    {
        LOG_ERR("Unable to Connect to (%s)", CONFIG_WIFI_SAMPLE_SSID);
    }

    return ret;
}

int wifi_init(void)
{
    state = init;

    while (state != connected)
    {
        int rc;
        switch (state)
        {
        case init:
            net_mgmt_init_event_callback(&cb, wifi_event_handler, NET_EVENT_WIFI_MASK);
            net_mgmt_add_event_callback(&cb);

            net_mgmt_init_event_callback(&ipv4_cb, ipv4_handler, NET_EVENT_IPV4_ADDR_ADD);
            net_mgmt_add_event_callback(&ipv4_cb);

            ap_iface = net_if_get_wifi_sap();
            sta_iface = net_if_get_wifi_sta();
            if (ap_iface == NULL || sta_iface == NULL)
            {
                LOG_ERR("fail to initiallize network interface");
                return 1;
            }
            if ((rc = enable_ap_mode()) != 0)
            {
                LOG_ERR("Failed to enable ap mode :%d", rc);
                return rc;
            }
            k_sem_take(&ap_ready, K_FOREVER);
            /* Start HTTP server */

            if ((rc = http_server_start()) != 0)
            {
                LOG_ERR("Failed to start HTTP server:%d", rc);
                return rc;
            }
            state = read_credential;
            break;
        case read_credential:

            k_sem_take(&wifi_creds_ready, K_FOREVER);
            state = connecting;

            break;
        case connecting:

            if ((rc = connect_to_wifi()) != 0)
            {
                LOG_ERR("failed to connect to wifi :%d", rc);
                state = read_credential;
                break;
            }
            k_sem_take(&net_ready, K_FOREVER);
            state = connected;
            break;
        case connected:
            break;

        default:
            break;
        }
    }

    return 0;
}
```

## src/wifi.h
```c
#ifndef WIFI_H_GUARD
#define WIFI_H_GUARD

#define NET_EVENT_WIFI_MASK                                               \
    (NET_EVENT_WIFI_CONNECT_RESULT | NET_EVENT_WIFI_DISCONNECT_RESULT |   \
     NET_EVENT_WIFI_AP_ENABLE_RESULT | NET_EVENT_WIFI_AP_DISABLE_RESULT | \
     NET_EVENT_WIFI_AP_STA_CONNECTED | NET_EVENT_WIFI_AP_STA_DISCONNECTED)

enum State
{
    init,
    read_credential,
    connecting,
    connected,
};

typedef struct
{
    char ssid[33];
    char password[65];
} wifi_credenital_t;

/**
 * @brief helper function to read parameter query from http post req
 * @param body http req URL with the query prams
 * @param key the key ur querying for
 * @param out output buffer to get the value for that key
 * @param out_len the out buffer size
 */
void form_get(const char *body, const char *key, char *out,
              size_t out_len);

/**
 * @typedef http_resource_dynamic_cb_t
 * @brief Callback used when data is received on /wifi end point.
 *
 * @param client HTTP context information for this client connection.
 * @param status HTTP transaction status, HTTP_SERVER_REQUEST_DATA_MORE and
 *               HTTP_SERVER_REQUEST_DATA_FINAL describe the request-body delivery progress.
 *               HTTP_SERVER_TRANSACTION_ABORTED and HTTP_SERVER_TRANSACTION_COMPLETE are
 *               terminal notifications.
 * @param request_ctx Request context structure containing HTTP request data that was received.
 * @param response_ctx Response context structure for application to populate with response data.
 * @param user_data User specified data.
 *
 * @return 0 success, server can send any response data provided in the response_ctx.
 *         <0 error, close the connection.
 */
int wifi_post_handler(struct http_client_ctx *client,
                      enum http_transaction_status status,
                      const struct http_request_ctx *req,
                      struct http_response_ctx *rsp, void *user_data);

/**
 * @brief relase net_ready mutext when ipv4 is ready */
void ipv4_handler(struct net_mgmt_event_callback *cb, uint64_t evt, struct net_if *iface);

/**
 * @brief wifi_sta_ap event handler
 * @param cb event callback initialized by net_mgmt_init_event_callback macro
 */
void wifi_event_handler(struct net_mgmt_event_callback *cb, uint64_t mgmt_event, struct net_if *iface);

/**
 * @brief enable dhcpv4 server
 */
void enable_dhcpv4_server(void);

int enable_ap_mode(void);

int connect_to_wifi(void);

int wifi_init(void);
#endif
```
